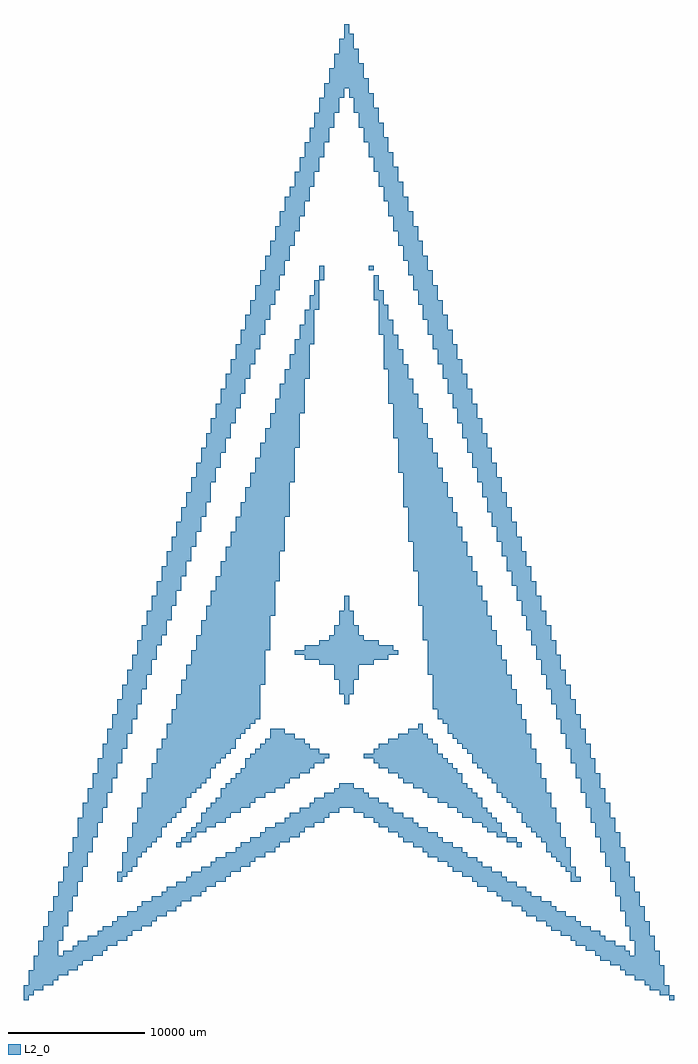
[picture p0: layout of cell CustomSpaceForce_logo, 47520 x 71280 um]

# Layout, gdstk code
import gdstk
lib = gdstk.Library(unit=1e-6, precision=1e-09)
def R(c, l, rs):  # rectangles x0, y0, x1, y1
    for r in rs: c.add(gdstk.rectangle(r[:2], r[2:], *l))
def P(c, l, *ps):  # polygons
    for p in ps: c.add(gdstk.Polygon(p, *l))
L2_0 = (2, 0)

customspaceforce_logo = lib.new_cell('CustomSpaceForce_logo')
R(customspaceforce_logo, L2_0, [(23400,-35640,23760,-35280), (-12600,-24480,-12240,-24120), (12240,-24480,12600,-24120), (11520,-24120,12240,-23760), (-2160,16920,-1800,18000), (1440,17640,1800,18000)])
P(customspaceforce_logo, L2_0, [(-12240,-24120),(-12240,-23760),(-11880,-23760),(-11880,-23400),(-11520,-23400),(-11520,-23040),(-11160,-23040),(-11160,-22680),(-10800,-22680),(-10800,-21960),(-10440,-21960),(-10440,-21600),(-10080,-21600),(-10080,-21240),(-9720,-21240),(-9720,-20880),(-9360,-20880),(-9360,-20160),(-9000,-20160),(-9000,-19800),(-8640,-19800),(-8640,-19440),(-8280,-19440),(-8280,-19080),(-7920,-19080),(-7920,-18720),(-7560,-18720),(-7560,-18000),(-7200,-18000),(-7200,-17640),(-6840,-17640),(-6840,-17280),(-6480,-17280),(-6480,-16920),(-6120,-16920),(-6120,-16560),(-5760,-16560),(-5760,-15840),(-4680,-15840),(-4680,-16200),(-3960,-16200),(-3960,-16560),(-3240,-16560),(-3240,-16920),(-2880,-16920),(-2880,-17280),(-2160,-17280),(-2160,-17640),(-1440,-17640),(-1440,-18000),(-1800,-18000),(-1800,-18360),(-2520,-18360),(-2520,-18720),(-2880,-18720),(-2880,-19080),(-3600,-19080),(-3600,-19440),(-4320,-19440),(-4320,-19800),(-4680,-19800),(-4680,-20160),(-5400,-20160),(-5400,-20520),(-6120,-20520),(-6120,-20880),(-6840,-20880),(-6840,-21240),(-7200,-21240),(-7200,-21600),(-7920,-21600),(-7920,-21960),(-8640,-21960),(-8640,-22320),(-9000,-22320),(-9000,-22680),(-9720,-22680),(-9720,-23040),(-10440,-23040),(-10440,-23400),(-11160,-23400),(-11160,-23760),(-11520,-23760),(-11520,-24120)],
  [(10800,-23760),(10800,-23400),(10080,-23400),(10080,-23040),(9720,-23040),(9720,-22680),(9000,-22680),(9000,-22320),(8280,-22320),(8280,-21960),(7920,-21960),(7920,-21600),(7200,-21600),(7200,-21240),(6480,-21240),(6480,-20880),(5760,-20880),(5760,-20520),(5400,-20520),(5400,-20160),(4680,-20160),(4680,-19800),(3960,-19800),(3960,-19440),(3600,-19440),(3600,-19080),(2880,-19080),(2880,-18720),(2160,-18720),(2160,-18360),(1800,-18360),(1800,-18000),(1080,-18000),(1080,-17640),(1800,-17640),(1800,-17280),(2160,-17280),(2160,-16920),(2880,-16920),(2880,-16560),(3600,-16560),(3600,-16200),(4320,-16200),(4320,-15840),(5040,-15840),(5040,-15480),(5400,-15480),(5400,-16200),(5760,-16200),(5760,-16560),(6120,-16560),(6120,-16920),(6480,-16920),(6480,-17640),(6840,-17640),(6840,-18000),(7200,-18000),(7200,-18360),(7560,-18360),(7560,-18720),(7920,-18720),(7920,-19080),(8280,-19080),(8280,-19800),(8640,-19800),(8640,-20160),(9000,-20160),(9000,-20520),(9360,-20520),(9360,-20880),(9720,-20880),(9720,-21600),(10080,-21600),(10080,-21960),(10440,-21960),(10440,-22320),(10800,-22320),(10800,-22680),(11160,-22680),(11160,-23400),(11520,-23400),(11520,-23760)],
  [(-360,-14040),(-360,-13320),(-720,-13320),(-720,-12240),(-1080,-12240),(-1080,-11160),(-2160,-11160),(-2160,-10800),(-3240,-10800),(-3240,-10440),(-3960,-10440),(-3960,-10080),(-3240,-10080),(-3240,-9720),(-2160,-9720),(-2160,-9360),(-1440,-9360),(-1440,-9000),(-1080,-9000),(-1080,-8280),(-720,-8280),(-720,-7200),(-360,-7200),(-360,-6120),(0,-6120),(0,-7200),(360,-7200),(360,-8280),(720,-8280),(720,-9000),(1080,-9000),(1080,-9360),(2160,-9360),(2160,-9720),(3240,-9720),(3240,-10080),(3600,-10080),(3600,-10440),(2880,-10440),(2880,-10800),(1800,-10800),(1800,-11160),(720,-11160),(720,-12240),(360,-12240),(360,-13320),(0,-13320),(0,-14040)],
  [(-16920,-27000),(-16920,-26280),(-16560,-26280),(-16560,-24840),(-16200,-24840),(-16200,-23760),(-15840,-23760),(-15840,-22680),(-15480,-22680),(-15480,-21600),(-15120,-21600),(-15120,-20520),(-14760,-20520),(-14760,-19440),(-14400,-19440),(-14400,-18360),(-14040,-18360),(-14040,-17280),(-13680,-17280),(-13680,-16560),(-13320,-16560),(-13320,-15480),(-12960,-15480),(-12960,-14400),(-12600,-14400),(-12600,-13320),(-12240,-13320),(-12240,-12240),(-11880,-12240),(-11880,-11160),(-11520,-11160),(-11520,-10080),(-11160,-10080),(-11160,-9000),(-10800,-9000),(-10800,-7920),(-10440,-7920),(-10440,-6840),(-10080,-6840),(-10080,-5760),(-9720,-5760),(-9720,-4680),(-9360,-4680),(-9360,-3600),(-9000,-3600),(-9000,-2520),(-8640,-2520),(-8640,-1440),(-8280,-1440),(-8280,-360),(-7920,-360),(-7920,720),(-7560,720),(-7560,1800),(-7200,1800),(-7200,2880),(-6840,2880),(-6840,3960),(-6480,3960),(-6480,5040),(-6120,5040),(-6120,6120),(-5760,6120),(-5760,7200),(-5400,7200),(-5400,8280),(-5040,8280),(-5040,9360),(-4680,9360),(-4680,10440),(-4320,10440),(-4320,11520),(-3960,11520),(-3960,12600),(-3600,12600),(-3600,13680),(-3240,13680),(-3240,14760),(-2880,14760),(-2880,15840),(-2520,15840),(-2520,16920),(-2160,16920),(-2160,14760),(-2520,14760),(-2520,12240),(-2880,12240),(-2880,9720),(-3240,9720),(-3240,7200),(-3600,7200),(-3600,4680),(-3960,4680),(-3960,2160),(-4320,2160),(-4320,-360),(-4680,-360),(-4680,-2880),(-5040,-2880),(-5040,-5040),(-5400,-5040),(-5400,-7560),(-5760,-7560),(-5760,-10080),(-6120,-10080),(-6120,-12600),(-6480,-12600),(-6480,-15120),(-6840,-15120),(-6840,-15480),(-7200,-15480),(-7200,-15840),(-7560,-15840),(-7560,-16200),(-7920,-16200),(-7920,-16560),(-8280,-16560),(-8280,-17280),(-8640,-17280),(-8640,-17640),(-9000,-17640),(-9000,-18000),(-9360,-18000),(-9360,-18360),(-9720,-18360),(-9720,-18720),(-10080,-18720),(-10080,-19440),(-10440,-19440),(-10440,-19800),(-10800,-19800),(-10800,-20160),(-11160,-20160),(-11160,-20520),(-11520,-20520),(-11520,-20880),(-11880,-20880),(-11880,-21600),(-12240,-21600),(-12240,-21960),(-12600,-21960),(-12600,-22320),(-12960,-22320),(-12960,-22680),(-13320,-22680),(-13320,-23040),(-13680,-23040),(-13680,-23760),(-14040,-23760),(-14040,-24120),(-14400,-24120),(-14400,-24480),(-14760,-24480),(-14760,-24840),(-15120,-24840),(-15120,-25200),(-15480,-25200),(-15480,-25920),(-15840,-25920),(-15840,-26280),(-16200,-26280),(-16200,-26640),(-16560,-26640),(-16560,-27000)],
  [(16200,-27000),(16200,-26280),(15840,-26280),(15840,-25920),(15480,-25920),(15480,-25560),(15120,-25560),(15120,-25200),(14760,-25200),(14760,-24840),(14400,-24840),(14400,-24120),(14040,-24120),(14040,-23760),(13680,-23760),(13680,-23400),(13320,-23400),(13320,-23040),(12960,-23040),(12960,-22680),(12600,-22680),(12600,-21960),(12240,-21960),(12240,-21600),(11880,-21600),(11880,-21240),(11520,-21240),(11520,-20880),(11160,-20880),(11160,-20520),(10800,-20520),(10800,-19800),(10440,-19800),(10440,-19440),(10080,-19440),(10080,-19080),(9720,-19080),(9720,-18720),(9360,-18720),(9360,-18360),(9000,-18360),(9000,-17640),(8640,-17640),(8640,-17280),(8280,-17280),(8280,-16920),(7920,-16920),(7920,-16560),(7560,-16560),(7560,-16200),(7200,-16200),(7200,-15480),(6840,-15480),(6840,-15120),(6480,-15120),(6480,-14400),(6120,-14400),(6120,-11880),(5760,-11880),(5760,-9360),(5400,-9360),(5400,-6840),(5040,-6840),(5040,-4320),(4680,-4320),(4680,-2160),(4320,-2160),(4320,360),(3960,360),(3960,2880),(3600,2880),(3600,5400),(3240,5400),(3240,7920),(2880,7920),(2880,10440),(2520,10440),(2520,12960),(2160,12960),(2160,15480),(1800,15480),(1800,17280),(2160,17280),(2160,16200),(2520,16200),(2520,15120),(2880,15120),(2880,14040),(3240,14040),(3240,12960),(3600,12960),(3600,11880),(3960,11880),(3960,10800),(4320,10800),(4320,9720),(4680,9720),(4680,8640),(5040,8640),(5040,7560),(5400,7560),(5400,6480),(5760,6480),(5760,5400),(6120,5400),(6120,4320),(6480,4320),(6480,3240),(6840,3240),(6840,2160),(7200,2160),(7200,1080),(7560,1080),(7560,0),(7920,0),(7920,-1080),(8280,-1080),(8280,-2160),(8640,-2160),(8640,-3240),(9000,-3240),(9000,-4320),(9360,-4320),(9360,-5400),(9720,-5400),(9720,-6480),(10080,-6480),(10080,-7560),(10440,-7560),(10440,-8640),(10800,-8640),(10800,-9720),(11160,-9720),(11160,-10800),(11520,-10800),(11520,-11880),(11880,-11880),(11880,-12960),(12240,-12960),(12240,-14040),(12600,-14040),(12600,-15120),(12960,-15120),(12960,-16200),(13320,-16200),(13320,-17280),(13680,-17280),(13680,-18360),(14040,-18360),(14040,-19440),(14400,-19440),(14400,-20520),(14760,-20520),(14760,-21600),(15120,-21600),(15120,-22680),(15480,-22680),(15480,-23760),(15840,-23760),(15840,-24480),(16200,-24480),(16200,-25920),(16560,-25920),(16560,-26640),(16920,-26640),(16920,-27000)],
  [(-23760,-35640),(-23760,-34560),(-23400,-34560),(-23400,-33480),(-23040,-33480),(-23040,-32400),(-22680,-32400),(-22680,-31320),(-22320,-31320),(-22320,-30240),(-21960,-30240),(-21960,-29160),(-21600,-29160),(-21600,-28080),(-21240,-28080),(-21240,-27000),(-20880,-27000),(-20880,-25920),(-20520,-25920),(-20520,-24840),(-20160,-24840),(-20160,-23760),(-19800,-23760),(-19800,-22320),(-19440,-22320),(-19440,-21240),(-19080,-21240),(-19080,-20160),(-18720,-20160),(-18720,-19080),(-18360,-19080),(-18360,-18000),(-18000,-18000),(-18000,-16920),(-17640,-16920),(-17640,-15840),(-17280,-15840),(-17280,-14760),(-16920,-14760),(-16920,-13680),(-16560,-13680),(-16560,-12600),(-16200,-12600),(-16200,-11520),(-15840,-11520),(-15840,-10440),(-15480,-10440),(-15480,-9360),(-15120,-9360),(-15120,-8280),(-14760,-8280),(-14760,-7200),(-14400,-7200),(-14400,-6120),(-14040,-6120),(-14040,-5040),(-13680,-5040),(-13680,-3960),(-13320,-3960),(-13320,-2880),(-12960,-2880),(-12960,-1800),(-12600,-1800),(-12600,-720),(-12240,-720),(-12240,360),(-11880,360),(-11880,1440),(-11520,1440),(-11520,2520),(-11160,2520),(-11160,3600),(-10800,3600),(-10800,4680),(-10440,4680),(-10440,5760),(-10080,5760),(-10080,6840),(-9720,6840),(-9720,7920),(-9360,7920),(-9360,9000),(-9000,9000),(-9000,10080),(-8640,10080),(-8640,11160),(-8280,11160),(-8280,12240),(-7920,12240),(-7920,13320),(-7560,13320),(-7560,14400),(-7200,14400),(-7200,15480),(-6840,15480),(-6840,16560),(-6480,16560),(-6480,17640),(-6120,17640),(-6120,18720),(-5760,18720),(-5760,19800),(-5400,19800),(-5400,20880),(-5040,20880),(-5040,21960),(-4680,21960),(-4680,23040),(-4320,23040),(-4320,23760),(-3960,23760),(-3960,24840),(-3600,24840),(-3600,25920),(-3240,25920),(-3240,27000),(-2880,27000),(-2880,28080),(-2520,28080),(-2520,29160),(-2160,29160),(-2160,30240),(-1800,30240),(-1800,30960),(-360,30960),(-360,30240),(-720,30240),(-720,29160),(-1080,29160),(-1080,28080),(-1440,28080),(-1440,27000),(-1800,27000),(-1800,25920),(-2160,25920),(-2160,24840),(-2520,24840),(-2520,23760),(-2880,23760),(-2880,22680),(-3240,22680),(-3240,21600),(-3600,21600),(-3600,20520),(-3960,20520),(-3960,19440),(-4320,19440),(-4320,18360),(-4680,18360),(-4680,17280),(-5040,17280),(-5040,16200),(-5400,16200),(-5400,15120),(-5760,15120),(-5760,14040),(-6120,14040),(-6120,12960),(-6480,12960),(-6480,11880),(-6840,11880),(-6840,10800),(-7200,10800),(-7200,9720),(-7560,9720),(-7560,8640),(-7920,8640),(-7920,7560),(-8280,7560),(-8280,6480),(-8640,6480),(-8640,5400),(-9000,5400),(-9000,4320),(-9360,4320),(-9360,3240),(-9720,3240),(-9720,2160),(-10080,2160),(-10080,720),(-10440,720),(-10440,-360),(-10800,-360),(-10800,-1440),(-11160,-1440),(-11160,-2520),(-11520,-2520),(-11520,-3600),(-11880,-3600),(-11880,-4680),(-12240,-4680),(-12240,-5760),(-12600,-5760),(-12600,-6840),(-12960,-6840),(-12960,-7920),(-13320,-7920),(-13320,-9000),(-13680,-9000),(-13680,-9720),(-14040,-9720),(-14040,-10800),(-14400,-10800),(-14400,-11880),(-14760,-11880),(-14760,-12960),(-15120,-12960),(-15120,-14040),(-15480,-14040),(-15480,-15120),(-15840,-15120),(-15840,-16200),(-16200,-16200),(-16200,-17280),(-16560,-17280),(-16560,-18360),(-16920,-18360),(-16920,-19440),(-17280,-19440),(-17280,-20520),(-17640,-20520),(-17640,-21600),(-18000,-21600),(-18000,-22680),(-18360,-22680),(-18360,-23760),(-18720,-23760),(-18720,-24840),(-19080,-24840),(-19080,-25920),(-19440,-25920),(-19440,-27000),(-19800,-27000),(-19800,-28080),(-20160,-28080),(-20160,-29160),(-20520,-29160),(-20520,-30240),(-20880,-30240),(-20880,-31320),(-21240,-31320),(-21240,-32400),(-20880,-32400),(-20880,-32040),(-20160,-32040),(-20160,-31680),(-19800,-31680),(-19800,-31320),(-19080,-31320),(-19080,-30960),(-18360,-30960),(-18360,-30600),(-18000,-30600),(-18000,-30240),(-17280,-30240),(-17280,-29880),(-16920,-29880),(-16920,-29520),(-16200,-29520),(-16200,-29160),(-15480,-29160),(-15480,-28800),(-15120,-28800),(-15120,-28440),(-14400,-28440),(-14400,-28080),(-13680,-28080),(-13680,-27720),(-13320,-27720),(-13320,-27360),(-12600,-27360),(-12600,-27000),(-11880,-27000),(-11880,-26640),(-11520,-26640),(-11520,-26280),(-10800,-26280),(-10800,-25920),(-10080,-25920),(-10080,-25560),(-9720,-25560),(-9720,-25200),(-9000,-25200),(-9000,-24840),(-8280,-24840),(-8280,-24480),(-7920,-24480),(-7920,-24120),(-7200,-24120),(-7200,-23760),(-6480,-23760),(-6480,-23400),(-6120,-23400),(-6120,-23040),(-5400,-23040),(-5400,-22680),(-4680,-22680),(-4680,-22320),(-4320,-22320),(-4320,-21960),(-3600,-21960),(-3600,-21600),(-2880,-21600),(-2880,-21240),(-2520,-21240),(-2520,-20880),(-1800,-20880),(-1800,-20520),(-1080,-20520),(-1080,-20160),(-720,-20160),(-720,-19800),(360,-19800),(360,-20160),(1080,-20160),(1080,-20520),(1440,-20520),(1440,-20880),(2160,-20880),(2160,-21240),(2880,-21240),(2880,-21600),(3240,-21600),(3240,-21960),(3960,-21960),(3960,-22320),(4680,-22320),(4680,-22680),(5040,-22680),(5040,-23040),(5760,-23040),(5760,-23400),(6480,-23400),(6480,-23760),(6840,-23760),(6840,-24120),(7560,-24120),(7560,-24480),(8280,-24480),(8280,-24840),(8640,-24840),(8640,-25200),(9360,-25200),(9360,-25560),(9720,-25560),(9720,-25920),(10440,-25920),(10440,-26280),(11160,-26280),(11160,-26640),(11520,-26640),(11520,-27000),(12240,-27000),(12240,-27360),(12960,-27360),(12960,-27720),(13320,-27720),(13320,-28080),(14040,-28080),(14040,-28440),(14760,-28440),(14760,-28800),(15120,-28800),(15120,-29160),(15840,-29160),(15840,-29520),(16560,-29520),(16560,-29880),(16920,-29880),(16920,-30240),(17640,-30240),(17640,-30600),(18360,-30600),(18360,-30960),(18720,-30960),(18720,-31320),(19440,-31320),(19440,-31680),(20160,-31680),(20160,-32040),(20520,-32040),(20520,-32400),(20880,-32400),(20880,-31320),(20520,-31320),(20520,-30240),(20160,-30240),(20160,-29160),(19800,-29160),(19800,-28080),(19440,-28080),(19440,-27000),(19080,-27000),(19080,-25920),(18720,-25920),(18720,-24840),(18360,-24840),(18360,-23760),(18000,-23760),(18000,-22680),(17640,-22680),(17640,-21600),(17280,-21600),(17280,-20520),(16920,-20520),(16920,-19440),(16560,-19440),(16560,-18360),(16200,-18360),(16200,-17280),(15840,-17280),(15840,-16200),(15480,-16200),(15480,-15120),(15120,-15120),(15120,-14040),(14760,-14040),(14760,-12960),(14400,-12960),(14400,-11880),(14040,-11880),(14040,-10800),(13680,-10800),(13680,-9720),(13320,-9720),(13320,-8640),(12960,-8640),(12960,-7560),(12600,-7560),(12600,-6480),(12240,-6480),(12240,-5400),(11880,-5400),(11880,-4320),(11520,-4320),(11520,-3240),(11160,-3240),(11160,-2160),(10800,-2160),(10800,-1080),(10440,-1080),(10440,0),(10080,0),(10080,1080),(9720,1080),(9720,2160),(9360,2160),(9360,3240),(9000,3240),(9000,4320),(8640,4320),(8640,5400),(8280,5400),(8280,6480),(7920,6480),(7920,7560),(7560,7560),(7560,8640),(7200,8640),(7200,9720),(6840,9720),(6840,10800),(6480,10800),(6480,11880),(6120,11880),(6120,12960),(5760,12960),(5760,14040),(5400,14040),(5400,15120),(5040,15120),(5040,16200),(4680,16200),(4680,17280),(4320,17280),(4320,18360),(3960,18360),(3960,19440),(3600,19440),(3600,20520),(3240,20520),(3240,21600),(2880,21600),(2880,22680),(2520,22680),(2520,23760),(2160,23760),(2160,24840),(1800,24840),(1800,25920),(1440,25920),(1440,27000),(1080,27000),(1080,28080),(720,28080),(720,29160),(360,29160),(360,30240),(0,30240),(0,30960),(-1800,30960),(-1800,31320),(-1440,31320),(-1440,32400),(-1080,32400),(-1080,33480),(-720,33480),(-720,34560),(-360,34560),(-360,35640),(0,35640),(0,34920),(360,34920),(360,33840),(720,33840),(720,32760),(1080,32760),(1080,31680),(1440,31680),(1440,30600),(1800,30600),(1800,29520),(2160,29520),(2160,28440),(2520,28440),(2520,27360),(2880,27360),(2880,26280),(3240,26280),(3240,25200),(3600,25200),(3600,24120),(3960,24120),(3960,23040),(4320,23040),(4320,21960),(4680,21960),(4680,20880),(5040,20880),(5040,19800),(5400,19800),(5400,18720),(5760,18720),(5760,17640),(6120,17640),(6120,16560),(6480,16560),(6480,15480),(6840,15480),(6840,14400),(7200,14400),(7200,13320),(7560,13320),(7560,12240),(7920,12240),(7920,11160),(8280,11160),(8280,10080),(8640,10080),(8640,9000),(9000,9000),(9000,7920),(9360,7920),(9360,6840),(9720,6840),(9720,5760),(10080,5760),(10080,4680),(10440,4680),(10440,3600),(10800,3600),(10800,2520),(11160,2520),(11160,1440),(11520,1440),(11520,360),(11880,360),(11880,-720),(12240,-720),(12240,-1800),(12600,-1800),(12600,-2880),(12960,-2880),(12960,-3960),(13320,-3960),(13320,-5040),(13680,-5040),(13680,-6120),(14040,-6120),(14040,-7200),(14400,-7200),(14400,-8280),(14760,-8280),(14760,-9360),(15120,-9360),(15120,-10440),(15480,-10440),(15480,-11520),(15840,-11520),(15840,-12600),(16200,-12600),(16200,-13680),(16560,-13680),(16560,-14760),(16920,-14760),(16920,-15840),(17280,-15840),(17280,-16920),(17640,-16920),(17640,-18000),(18000,-18000),(18000,-19080),(18360,-19080),(18360,-20160),(18720,-20160),(18720,-21240),(19080,-21240),(19080,-22320),(19440,-22320),(19440,-23400),(19800,-23400),(19800,-24480),(20160,-24480),(20160,-25560),(20520,-25560),(20520,-26640),(20880,-26640),(20880,-27720),(21240,-27720),(21240,-28800),(21600,-28800),(21600,-29880),(21960,-29880),(21960,-30960),(22320,-30960),(22320,-32040),(22680,-32040),(22680,-33120),(23040,-33120),(23040,-34560),(23400,-34560),(23400,-35280),(22680,-35280),(22680,-34920),(21960,-34920),(21960,-34560),(21600,-34560),(21600,-34200),(20880,-34200),(20880,-33840),(20160,-33840),(20160,-33480),(19800,-33480),(19800,-33120),(19080,-33120),(19080,-32760),(18360,-32760),(18360,-32400),(18000,-32400),(18000,-32040),(17280,-32040),(17280,-31680),(16560,-31680),(16560,-31320),(16200,-31320),(16200,-30960),(15480,-30960),(15480,-30600),(14760,-30600),(14760,-30240),(14400,-30240),(14400,-29880),(13680,-29880),(13680,-29520),(12960,-29520),(12960,-29160),(12600,-29160),(12600,-28800),(11880,-28800),(11880,-28440),(11160,-28440),(11160,-28080),(10800,-28080),(10800,-27720),(10080,-27720),(10080,-27360),(9360,-27360),(9360,-27000),(9000,-27000),(9000,-26640),(8280,-26640),(8280,-26280),(7560,-26280),(7560,-25920),(7200,-25920),(7200,-25560),(6480,-25560),(6480,-25200),(5760,-25200),(5760,-24840),(5400,-24840),(5400,-24480),(4680,-24480),(4680,-24120),(3960,-24120),(3960,-23760),(3600,-23760),(3600,-23400),(2880,-23400),(2880,-23040),(2160,-23040),(2160,-22680),(1800,-22680),(1800,-22320),(1080,-22320),(1080,-21960),(360,-21960),(360,-21600),(-720,-21600),(-720,-21960),(-1440,-21960),(-1440,-22320),(-1800,-22320),(-1800,-22680),(-2520,-22680),(-2520,-23040),(-3240,-23040),(-3240,-23400),(-3600,-23400),(-3600,-23760),(-4320,-23760),(-4320,-24120),(-5040,-24120),(-5040,-24480),(-5400,-24480),(-5400,-24840),(-6120,-24840),(-6120,-25200),(-6840,-25200),(-6840,-25560),(-7200,-25560),(-7200,-25920),(-7920,-25920),(-7920,-26280),(-8640,-26280),(-8640,-26640),(-9000,-26640),(-9000,-27000),(-9720,-27000),(-9720,-27360),(-10440,-27360),(-10440,-27720),(-10800,-27720),(-10800,-28080),(-11520,-28080),(-11520,-28440),(-12240,-28440),(-12240,-28800),(-12600,-28800),(-12600,-29160),(-13320,-29160),(-13320,-29520),(-14040,-29520),(-14040,-29880),(-14400,-29880),(-14400,-30240),(-15120,-30240),(-15120,-30600),(-15840,-30600),(-15840,-30960),(-16200,-30960),(-16200,-31320),(-16920,-31320),(-16920,-31680),(-17640,-31680),(-17640,-32040),(-18000,-32040),(-18000,-32400),(-18720,-32400),(-18720,-32760),(-19440,-32760),(-19440,-33120),(-19800,-33120),(-19800,-33480),(-20520,-33480),(-20520,-33840),(-21240,-33840),(-21240,-34200),(-21600,-34200),(-21600,-34560),(-22320,-34560),(-22320,-34920),(-23040,-34920),(-23040,-35280),(-23400,-35280),(-23400,-35640)])

lib.write_gds('CustomSpaceForce_logo.gds')
